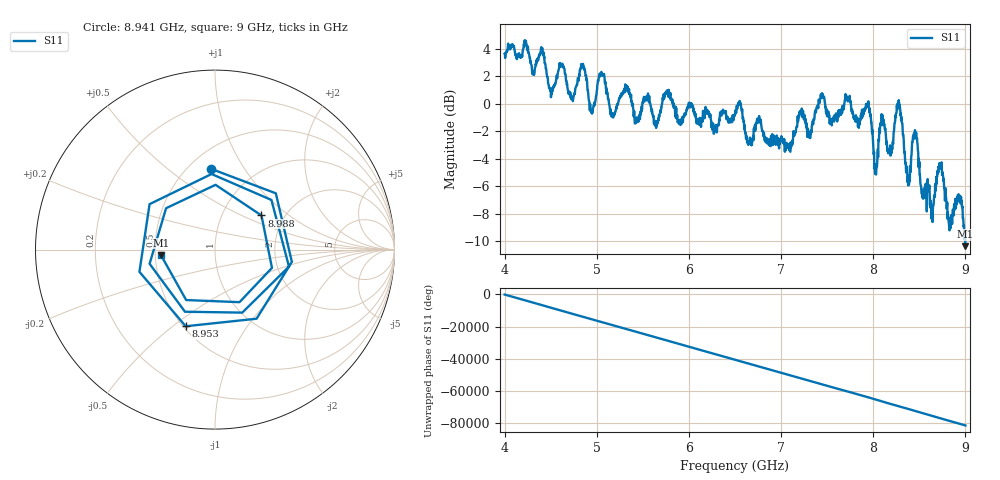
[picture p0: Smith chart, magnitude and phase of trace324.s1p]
! Created with skrf 1.8.0 (http://scikit-rf.org).
# Hz S RI R 50.0
!freq ReS11 ImS11
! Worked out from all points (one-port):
!   1601 points, 4 GHz to 9 GHz, reference 50 ohm
!   lowest |S11| = -10.4 dB at 9 GHz (marker M1), VSWR 1.87, Z = 26.8 - j1.79 ohm
!   |S11| at or under -10 dB: 8.998055 GHz to end of sweep
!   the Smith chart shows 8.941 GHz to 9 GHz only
!   S11 on the Smith chart (normalised r, x): 8.941 GHz: 0.64, +0.72; 8.953 GHz: 0.52, -0.56; 8.988 GHz: 1.53, +0.65; 9 GHz: 0.54, -0.04
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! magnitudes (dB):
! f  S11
! 4 GHz  3.7
! 4.406 GHz  4.0
! 4.506 GHz  0.7
! 4.625 GHz  2.9
! 4.728 GHz  0.4
! 4.85 GHz  2.9
! 4.947 GHz  -0.4
! 5.053 GHz  2.2
! 5.169 GHz  -0.9
! 5.25 GHz  0.4
! 5.875 GHz  -0.8
! 6.5 GHz  -0.9
! 7.125 GHz  -2.7
! 7.75 GHz  0.1
! 7.947 GHz  0.2
! 8.028 GHz  -5.1
! 8.091 GHz  -0.8
! 8.181 GHz  -3.2
! 8.275 GHz  0.0
! 8.375 GHz  -5.8
! 8.453 GHz  -1.9
! 8.638 GHz  -7.7
! 8.722 GHz  -4.4
! 8.831 GHz  -8.8
! 8.941 GHz  -6.9
! 8.953 GHz  -6.8
! 8.988 GHz  -9.9
! 9 GHz  -10.4
